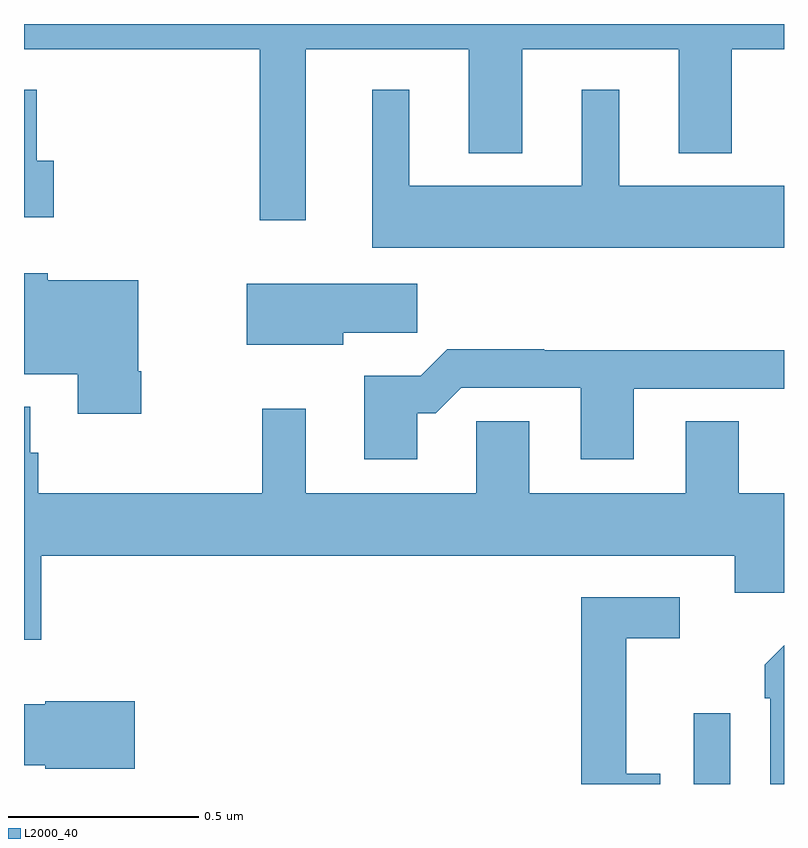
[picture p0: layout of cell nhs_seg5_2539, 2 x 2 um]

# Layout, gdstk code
import gdstk
lib = gdstk.Library(unit=1e-6, precision=1e-09)
def R(c, l, rs):  # rectangles x0, y0, x1, y1
    for r in rs: c.add(gdstk.rectangle(r[:2], r[2:], *l))
def P(c, l, *ps):  # polygons
    for p in ps: c.add(gdstk.Polygon(p, *l))
L2000_40 = (2000, 40)

nhs_seg5_2539 = lib.new_cell('nhs_seg5_2539')
R(nhs_seg5_2539, L2000_40, [(146.763,882.799,146.859,882.985)])
P(nhs_seg5_2539, L2000_40, [(145.741,884.732),(146.171,884.732),(146.171,884.459),(146.311,884.459),(146.311,884.732),(146.723,884.732),(146.723,884.459),(146.863,884.459),(146.863,884.732),(147,884.732),(147,884.799),(145,884.799),(145,884.732),(145.62,884.732),(145.62,884.283),(145.741,884.283)],
  [(147,884.374),(146.566,884.374),(146.566,884.626),(146.468,884.626),(146.468,884.374),(146.014,884.374),(146.014,884.626),(145.916,884.626),(145.916,884.21),(147,884.21)],
  [(145.078,884.439),(145.034,884.439),(145.034,884.626),(145,884.626),(145,884.291),(145.078,884.291)],
  [(145.308,883.885),(145.3,883.885),(145.3,884.125),(145.062,884.125),(145.062,884.143),(145,884.143),(145,883.877),(145.142,883.877),(145.142,883.773),(145.308,883.773)],
  [(145.84,883.987),(146.035,883.987),(146.035,884.116),(145.586,884.116),(145.586,883.955),(145.84,883.955)],
  [(146.035,883.775),(146.084,883.775),(146.151,883.842),(146.465,883.842),(146.465,883.653),(146.605,883.653),(146.605,883.839),(147,883.839),(147,883.94),(146.369,883.94),(146.369,883.943),(146.114,883.943),(146.044,883.873),(145.895,883.873),(145.895,883.653),(146.035,883.653)],
  [(145.045,883.4),(146.87,883.4),(146.87,883.302),(147,883.302),(147,883.564),(146.881,883.564),(146.881,883.754),(146.741,883.754),(146.741,883.564),(146.329,883.564),(146.329,883.754),(146.19,883.754),(146.19,883.564),(145.741,883.564),(145.741,883.786),(145.627,883.786),(145.627,883.564),(145.037,883.564),(145.037,883.671),(145.017,883.671),(145.017,883.792),(145,883.792),(145,883.179),(145.045,883.179)],
  [(146.674,882.826),(146.585,882.826),(146.585,883.182),(146.725,883.182),(146.725,883.29),(146.467,883.29),(146.467,882.799),(146.674,882.799)],
  [(147,883.164),(146.949,883.113),(146.949,883.025),(146.964,883.025),(146.964,882.799),(147,882.799)],
  [(145.291,883.017),(145.056,883.017),(145.056,883.009),(145,883.009),(145,882.848),(145.056,882.848),(145.056,882.839),(145.291,882.839)])

lib.write_gds('nhs_seg5_2539.gds')
